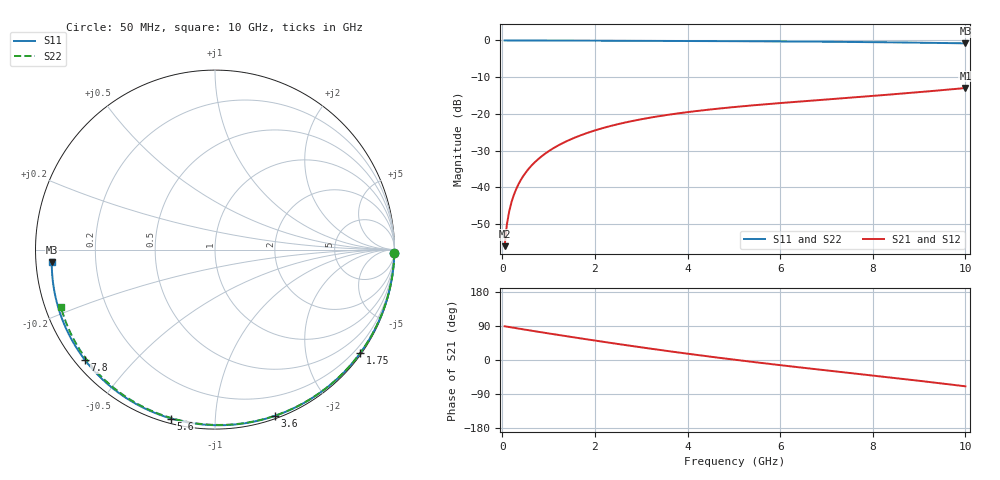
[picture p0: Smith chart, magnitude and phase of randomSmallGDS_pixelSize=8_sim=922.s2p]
! freq	dB(S11)	phase(S11)	dB(S12)	phase(S12)
!  dB(S21)	phase(S21)	dB(S22)	phase(S22)
!S-par simulation data
#  GHz  S  DB  R 50
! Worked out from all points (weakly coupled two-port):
!   200 points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, 50 MHz to 10 GHz, reference 50 ohm
!   highest |S21| = -12.97 dB at 10 GHz (marker M1); lowest = -56.0 dB at 50 MHz (marker M2)
!   lowest |S11| = -0.8 dB at 10 GHz (marker M3), VSWR 21.79, Z = 2.3 - j1.94 ohm
!   |S11| at or under -10 dB: nowhere
!   |S22| runs from -0.8 to 0.0 dB; largest |S21 - S12| = 0
!   S11 on the Smith chart (normalised r, x): 50 MHz: open; 1.75 GHz: 0.04, -3.14; 3.6 GHz: 0.02, -1.42; 5.6 GHz: 0.02, -0.77; 7.8 GHz: 0.03, -0.37; 10 GHz: 0.05, -0.04
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0.05  -0.01 -1.0  -56.01 89.0  -56.01 89.0  -0.01 -1.0
0.1  -0.01 -2.1  -49.99 88.0  -49.99 88.0  -0.01 -1.9
0.15  -0.01 -3.1  -46.47 86.9  -46.47 86.9  -0.01 -2.8
0.2  -0.01 -4.1  -43.98 85.9  -43.98 85.9  -0.01 -3.8
0.25  -0.01 -5.1  -42.04 84.9  -42.04 84.9  -0.01 -4.7
0.35  -0.01 -7.2  -39.13 82.9  -39.13 82.9  -0.01 -6.6
0.5  -0.01 -10.2  -36.06 79.9  -36.06 79.9  -0.01 -9.4
0.7  -0.02 -14.3  -33.18 75.9  -33.18 75.9  -0.02 -13.1
1  -0.03 -20.4  -30.17 70.1  -30.17 70.1  -0.03 -18.7
1.35  -0.04 -27.4  -27.67 63.5  -27.67 63.5  -0.04 -25.2
1.75  -0.06 -35.3  -25.56 55.9  -25.56 55.9  -0.05 -32.4
2.6  -0.09 -51.8  -22.50 40.4  -22.50 40.4  -0.08 -47.6
3.4  -0.12 -66.6  -20.59 26.5  -20.59 26.5  -0.12 -61.3
3.6  -0.13 -70.3  -20.21 23.2  -20.21 23.2  -0.13 -64.6
4.3  -0.17 -82.6  -19.06 11.8  -19.06 11.8  -0.16 -76.1
5.05  -0.21 -95.4  -18.08 0.3  -18.08 0.3  -0.20 -87.9
5.6  -0.24 -104.6  -17.47 -7.9  -17.47 -7.9  -0.23 -96.3
6.7  -0.33 -122.3  -16.37 -23.3  -16.37 -23.3  -0.31 -112.5
7.8  -0.44 -139.7  -15.31 -38.3  -15.31 -38.3  -0.42 -128.3
8.35  -0.51 -148.4  -14.75 -45.8  -14.75 -45.8  -0.49 -136.0
9.2  -0.64 -162.1  -13.86 -57.7  -13.86 -57.7  -0.61 -148.0
10  -0.80 -175.6  -12.97 -69.5  -12.97 -69.5  -0.76 -159.5
